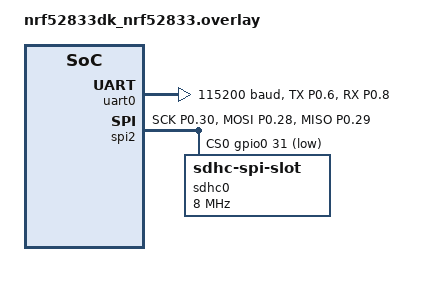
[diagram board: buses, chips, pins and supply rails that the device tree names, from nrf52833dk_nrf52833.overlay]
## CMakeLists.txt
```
# MDBT53 Camera Controller CMake Configuration
# 
# 이 프로젝트는 nRF Connect SDK를 사용합니다.
# 
# 빌드 방법:
#   1. nRF Connect SDK 설치
#   2. 프로젝트 디렉토리에서:
#      west build -b nrf52833dk_nrf52833
#   3. 플래시:
#      west flash
#
# 커스텀 보드 사용 시:
#   boards/ 디렉토리에 보드 정의 파일 추가 후
#   west build -b your_custom_board

cmake_minimum_required(VERSION 3.20.0)

find_package(Zephyr REQUIRED HINTS $ENV{ZEPHYR_BASE})

project(mdbt53_camera_controller)

target_sources(app PRIVATE
    src/main.c
)
```

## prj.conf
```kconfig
# MDBT53 Camera Controller - nRF Connect SDK Configuration
# 
# 빌드 명령: west build -b nrf52833dk_nrf52833
# (또는 커스텀 보드 사용 시: west build -b your_board_name)

# 기본 설정
CONFIG_MAIN_STACK_SIZE=4096
CONFIG_SYSTEM_WORKQUEUE_STACK_SIZE=2048
CONFIG_HEAP_MEM_POOL_SIZE=16384

# 로깅
CONFIG_LOG=y
CONFIG_LOG_DEFAULT_LEVEL=3
CONFIG_LOG_BUFFER_SIZE=4096

# UART
CONFIG_SERIAL=y
CONFIG_UART_INTERRUPT_DRIVEN=y
CONFIG_UART_LINE_CTRL=y

# GPIO (버튼용)
CONFIG_GPIO=y

# SPI (SD 카드용)
CONFIG_SPI=y

# 디스크 및 파일시스템
CONFIG_DISK_ACCESS=y
CONFIG_DISK_DRIVER_SDMMC=y

CONFIG_FILE_SYSTEM=y
CONFIG_FAT_FILESYSTEM_ELM=y
CONFIG_FS_FATFS_LFN=y
CONFIG_FS_FATFS_LFN_MODE_HEAP=y

# SD/MMC 드라이버
CONFIG_SDMMC_STACK=y

# 메모리 풀 (대용량 버퍼용)
CONFIG_COMMON_LIBC_MALLOC_ARENA_SIZE=65536

# 스레드 최적화
CONFIG_TIMESLICING=n
CONFIG_NUM_PREEMPT_PRIORITIES=16

# 디버그 (개발 중에만)
CONFIG_DEBUG=y
CONFIG_ASSERT=y

# 전력 관리 비활성화 (개발 단순화)
CONFIG_PM=n
```

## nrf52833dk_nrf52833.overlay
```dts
/*
 * MDBT53 Camera Controller - Device Tree Overlay
 * 
 * 하드웨어 핀 배치:
 *   UART0 (ESP32-CAM 연결):
 *     TX: P0.06
 *     RX: P0.08
 *   
 *   SPI2 (SD 카드):
 *     MOSI: P0.28
 *     MISO: P0.29
 *     SCK:  P0.30
 *     CS:   P0.31
 *   
 *   버튼 (수동 촬영):
 *     SW0: P0.11 (기본 DK 버튼)
 */

/ {
    aliases {
        sdhc0 = &sdhc0;
    };
};

/* UART0 설정 - ESP32-CAM 통신용 */
&uart0 {
    status = "okay";
    current-speed = <115200>;
    pinctrl-0 = <&uart0_default>;
    pinctrl-1 = <&uart0_sleep>;
    pinctrl-names = "default", "sleep";
};

&pinctrl {
    uart0_default: uart0_default {
        group1 {
            psels = <NRF_PSEL(UART_TX, 0, 6)>,
                    <NRF_PSEL(UART_RX, 0, 8)>;
        };
    };

    uart0_sleep: uart0_sleep {
        group1 {
            psels = <NRF_PSEL(UART_TX, 0, 6)>,
                    <NRF_PSEL(UART_RX, 0, 8)>;
            low-power-enable;
        };
    };

    spi2_default: spi2_default {
        group1 {
            psels = <NRF_PSEL(SPIM_SCK, 0, 30)>,
                    <NRF_PSEL(SPIM_MOSI, 0, 28)>,
                    <NRF_PSEL(SPIM_MISO, 0, 29)>;
        };
    };

    spi2_sleep: spi2_sleep {
        group1 {
            psels = <NRF_PSEL(SPIM_SCK, 0, 30)>,
                    <NRF_PSEL(SPIM_MOSI, 0, 28)>,
                    <NRF_PSEL(SPIM_MISO, 0, 29)>;
            low-power-enable;
        };
    };
};

/* SPI2 - SD 카드용 */
&spi2 {
    status = "okay";
    pinctrl-0 = <&spi2_default>;
    pinctrl-1 = <&spi2_sleep>;
    pinctrl-names = "default", "sleep";
    cs-gpios = <&gpio0 31 GPIO_ACTIVE_LOW>;

    sdhc0: sdhc@0 {
        compatible = "zephyr,sdhc-spi-slot";
        reg = <0>;
        status = "okay";
        spi-max-frequency = <8000000>;
        mmc {
            compatible = "zephyr,sdmmc-disk";
            status = "okay";
        };
    };
};
```

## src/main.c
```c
/**
 * MDBT53 (nRF52833) Camera Controller
 * 
 * ESP32-CAM과 시리얼 통신하여 사진을 촬영하고 SD 카드에 저장
 * 
 * 개발 환경: nRF Connect SDK (Zephyr RTOS)
 * 
 * 하드웨어 연결:
 *   MDBT53 TX (P0.06) → ESP32-CAM RX (GPIO3)
 *   MDBT53 RX (P0.08) → ESP32-CAM TX (GPIO1)
 *   GND ↔ GND
 *   
 *   SD 카드 (SPI):
 *   MDBT53 P0.28 → SD_MOSI
 *   MDBT53 P0.29 → SD_MISO
 *   MDBT53 P0.30 → SD_SCK
 *   MDBT53 P0.31 → SD_CS
 */

#include <zephyr/kernel.h>
#include <zephyr/device.h>
#include <zephyr/drivers/uart.h>
#include <zephyr/drivers/gpio.h>
#include <zephyr/fs/fs.h>
#include <zephyr/storage/disk_access.h>
#include <ff.h>
#include <zephyr/logging/log.h>

#include <string.h>
#include <stdlib.h>
#include <stdio.h>

LOG_MODULE_REGISTER(camera_ctrl, LOG_LEVEL_INF);

/* ===========================
 * 설정값
 * =========================== */
#define UART_DEVICE_NODE DT_NODELABEL(uart0)
#define UART_BUF_SIZE 2048
#define JPEG_MAX_SIZE (512 * 1024)  // 최대 512KB
#define CAPTURE_INTERVAL_SEC 60     // 60초마다 자동 촬영

/* 명령 및 응답 문자열 */
#define CMD_CAPTURE    "CAP\n"
#define CMD_STATUS     "STATUS\n"
#define RESP_IMG       "IMG:"
#define RESP_END       "END:"
#define RESP_OK        "OK:"
#define RESP_ERR       "ERR:"

/* ===========================
 * 전역 변수
 * =========================== */
static const struct device *uart_dev;
static uint8_t uart_rx_buf[UART_BUF_SIZE];
static volatile size_t uart_rx_len = 0;

/* JPEG 수신 버퍼 (PSRAM이 없으므로 정적 할당) */
static uint8_t jpeg_buffer[JPEG_MAX_SIZE] __attribute__((aligned(4)));
static volatile size_t jpeg_len = 0;

/* 파일 시스템 */
static FATFS fat_fs;
static struct fs_mount_t mp = {
    .type = FS_FATFS,
    .fs_data = &fat_fs,
};

/* 파일 카운터 */
static uint32_t file_counter = 0;

/* 상태 플래그 */
static volatile bool receiving_jpeg = false;
static volatile bool jpeg_complete = false;
static volatile size_t expected_jpeg_len = 0;

/* ===========================
 * 함수 프로토타입
 * =========================== */
static int init_uart(void);
static int init_sd_card(void);
static void uart_send(const char *data);
static int request_capture(void);
static int receive_jpeg(void);
static int save_jpeg_to_sd(void);
static uint8_t calculate_checksum(uint8_t *data, size_t len);
static void uart_isr(const struct device *dev, void *user_data);

/* ===========================
 * UART 초기화
 * =========================== */
static int init_uart(void)
{
    uart_dev = DEVICE_DT_GET(UART_DEVICE_NODE);
    if (!device_is_ready(uart_dev)) {
        LOG_ERR("UART device not ready");
        return -ENODEV;
    }

    /* UART 인터럽트 설정 */
    uart_irq_callback_user_data_set(uart_dev, uart_isr, NULL);
    uart_irq_rx_enable(uart_dev);

    LOG_INF("UART initialized");
    return 0;
}

/* ===========================
 * UART 인터럽트 핸들러
 * =========================== */
static void uart_isr(const struct device *dev, void *user_data)
{
    ARG_UNUSED(user_data);

    while (uart_irq_update(dev) && uart_irq_is_pending(dev)) {
        if (uart_irq_rx_ready(dev)) {
            uint8_t c;
            while (uart_fifo_read(dev, &c, 1) > 0) {
                if (receiving_jpeg) {
                    /* JPEG 바이너리 데이터 수신 중 */
                    if (jpeg_len < JPEG_MAX_SIZE) {
                        jpeg_buffer[jpeg_len++] = c;
                    }
                } else {
                    /* 명령/응답 텍스트 수신 */
                    if (uart_rx_len < UART_BUF_SIZE - 1) {
                        uart_rx_buf[uart_rx_len++] = c;
                        uart_rx_buf[uart_rx_len] = '\0';
                    }
                }
            }
        }
    }
}

/* ===========================
 * UART 데이터 전송
 * =========================== */
static void uart_send(const char *data)
{
    while (*data) {
        uart_poll_out(uart_dev, *data++);
    }
}

/* ===========================
 * SD 카드 초기화
 * =========================== */
static int init_sd_card(void)
{
    static const char *disk_mount_pt = "/SD:";
    static const char *disk_pdrv = "SD";
    int ret;

    /* 디스크 접근 초기화 */
    ret = disk_access_init(disk_pdrv);
    if (ret) {
        LOG_ERR("SD card init failed: %d", ret);
        return ret;
    }

    /* 마운트 포인트 설정 */
    mp.mnt_point = disk_mount_pt;

    /* 파일시스템 마운트 */
    ret = fs_mount(&mp);
    if (ret) {
        LOG_ERR("SD mount failed: %d", ret);
        return ret;
    }

    LOG_INF("SD card mounted at %s", disk_mount_pt);
    
    /* 기존 파일 개수 확인하여 카운터 설정 */
    struct fs_dir_t dir;
    struct fs_dirent entry;
    
    fs_dir_t_init(&dir);
    ret = fs_opendir(&dir, disk_mount_pt);
    if (ret == 0) {
        while (fs_readdir(&dir, &entry) == 0 && entry.name[0] != 0) {
            if (strstr(entry.name, "photo_") != NULL) {
                int num;
                if (sscanf(entry.name, "photo_%d.jpg", &num) == 1) {
                    if (num >= file_counter) {
                        file_counter = num + 1;
                    }
                }
            }
        }
        fs_closedir(&dir);
    }
    
    LOG_INF("File counter starts at %d", file_counter);
    return 0;
}

/* ===========================
 * 사진 촬영 요청
 * =========================== */
static int request_capture(void)
{
    LOG_INF("Requesting capture from ESP32-CAM...");
    
    /* 버퍼 초기화 */
    uart_rx_len = 0;
    memset(uart_rx_buf, 0, sizeof(uart_rx_buf));
    jpeg_len = 0;
    receiving_jpeg = false;
    jpeg_complete = false;
    expected_jpeg_len = 0;
    
    /* CAP 명령 전송 */
    uart_send(CMD_CAPTURE);
    
    return 0;
}

/* ===========================
 * JPEG 데이터 수신
 * =========================== */
static int receive_jpeg(void)
{
    int timeout_ms = 30000;  /* 30초 타임아웃 */
    int elapsed = 0;
    
    LOG_INF("Waiting for JPEG data...");
    
    /* Step 1: "IMG:<size>\n" 헤더 대기 */
    while (elapsed < timeout_ms) {
        k_msleep(10);
        elapsed += 10;
        
        /* "IMG:" 헤더 확인 */
        char *img_ptr = strstr((char *)uart_rx_buf, RESP_IMG);
        if (img_ptr) {
            char *newline = strchr(img_ptr, '\n');
            if (newline) {
                /* 크기 파싱 */
                expected_jpeg_len = atoi(img_ptr + 4);
                LOG_INF("Expected JPEG size: %d bytes", expected_jpeg_len);
                
                if (expected_jpeg_len == 0 || expected_jpeg_len > JPEG_MAX_SIZE) {
                    LOG_ERR("Invalid JPEG size: %d", expected_jpeg_len);
                    return -EINVAL;
                }
                
                /* JPEG 수신 모드로 전환 */
                receiving_jpeg = true;
                jpeg_len = 0;
                uart_rx_len = 0;
                break;
            }
        }
        
        /* 에러 응답 확인 */
        if (strstr((char *)uart_rx_buf, RESP_ERR)) {
            LOG_ERR("ESP32-CAM error: %s", uart_rx_buf);
            return -EIO;
        }
    }
    
    if (!receiving_jpeg) {
        LOG_ERR("Timeout waiting for IMG header");
        return -ETIMEDOUT;
    }
    
    /* Step 2: JPEG 바이너리 데이터 수신 */
    elapsed = 0;
    while (elapsed < timeout_ms) {
        k_msleep(10);
        elapsed += 10;
        
        /* 예상 크기만큼 수신했는지 확인 */
        if (jpeg_len >= expected_jpeg_len) {
            /* 추가로 "END:" 마커 대기 */
            k_msleep(100);
            
            /* END 마커와 체크섬 확인 (마지막 몇 바이트에 있음) */
            receiving_jpeg = false;
            
            /* JPEG 끝 부분에서 "END:" 찾기 */
            /* 실제 JPEG 데이터 뒤에 "\nEND:XX\n" 형태로 옴 */
            if (jpeg_len > 10) {
                /* 마지막 10바이트에서 END 마커 검색 */
                char *end_marker = NULL;
                for (int i = jpeg_len - 10; i < jpeg_len - 4; i++) {
                    if (i >= 0 && memcmp(&jpeg_buffer[i], "\nEND:", 5) == 0) {
                        end_marker = (char *)&jpeg_buffer[i];
                        /* 실제 JPEG 데이터 길이 조정 */
                        jpeg_len = i;
                        break;
                    }
                }
                
                if (end_marker) {
                    /* 체크섬 확인 */
                    uint8_t received_checksum;
                    if (sscanf(end_marker + 5, "%02hhX", &received_checksum) == 1) {
                        uint8_t calc_checksum = calculate_checksum(jpeg_buffer, jpeg_len);
                        if (calc_checksum == received_checksum) {
                            LOG_INF("Checksum OK! JPEG received: %d bytes", jpeg_len);
                            jpeg_complete = true;
                            return 0;
                        } else {
                            LOG_WRN("Checksum mismatch: expected %02X, got %02X", 
                                    received_checksum, calc_checksum);
                            /* 체크섬이 틀려도 저장 시도 */
                            jpeg_complete = true;
                            return 0;
                        }
                    }
                }
            }
            
            /* END 마커 없어도 데이터 완료로 처리 */
            LOG_WRN("END marker not found, using received data");
            jpeg_complete = true;
            return 0;
        }
        
        /* 진행 상황 로그 (10% 단위) */
        static int last_percent = 0;
        int percent = (jpeg_len * 100) / expected_jpeg_len;
        if (percent / 10 > last_percent / 10) {
            LOG_INF("Receiving: %d%%", percent);
            last_percent = percent;
        }
    }
    
    LOG_ERR("Timeout receiving JPEG data");
    receiving_jpeg = false;
    return -ETIMEDOUT;
}

/* ===========================
 * JPEG를 SD 카드에 저장
 * =========================== */
static int save_jpeg_to_sd(void)
{
    if (!jpeg_complete || jpeg_len == 0) {
        LOG_ERR("No JPEG data to save");
        return -ENODATA;
    }
    
    char filename[64];
    snprintf(filename, sizeof(filename), "/SD:/photo_%04d.jpg", file_counter);
    
    struct fs_file_t file;
    fs_file_t_init(&file);
    
    int ret = fs_open(&file, filename, FS_O_CREATE | FS_O_WRITE);
    if (ret) {
        LOG_ERR("Failed to create file %s: %d", filename, ret);
        return ret;
    }
    
    /* 데이터 쓰기 (청크 단위) */
    const size_t chunk_size = 4096;
    size_t written = 0;
    
    while (written < jpeg_len) {
        size_t to_write = MIN(chunk_size, jpeg_len - written);
        ssize_t result = fs_write(&file, &jpeg_buffer[written], to_write);
        if (result < 0) {
            LOG_ERR("Write error: %d", result);
            fs_close(&file);
            return result;
        }
        written += result;
    }
    
    fs_close(&file);
    
    LOG_INF("Saved: %s (%d bytes)", filename, jpeg_len);
    file_counter++;
    
    return 0;
}

/* ===========================
 * XOR 체크섬 계산
 * =========================== */
static uint8_t calculate_checksum(uint8_t *data, size_t len)
{
    uint8_t checksum = 0;
    for (size_t i = 0; i < len; i++) {
        checksum ^= data[i];
    }
    return checksum;
}

/* ===========================
 * 캡처 및 저장 워크플로우
 * =========================== */
static int capture_and_save(void)
{
    int ret;
    
    /* 촬영 요청 */
    ret = request_capture();
    if (ret) {
        LOG_ERR("Capture request failed: %d", ret);
        return ret;
    }
    
    /* JPEG 수신 */
    ret = receive_jpeg();
    if (ret) {
        LOG_ERR("JPEG receive failed: %d", ret);
        return ret;
    }
    
    /* SD 카드에 저장 */
    ret = save_jpeg_to_sd();
    if (ret) {
        LOG_ERR("Save to SD failed: %d", ret);
        return ret;
    }
    
    return 0;
}

/* ===========================
 * 버튼 인터럽트 핸들러 (수동 촬영용)
 * =========================== */
#define BUTTON_NODE DT_ALIAS(sw0)
#if DT_NODE_EXISTS(BUTTON_NODE)

static const struct gpio_dt_spec button = GPIO_DT_SPEC_GET(BUTTON_NODE, gpios);
static struct gpio_callback button_cb_data;

static void button_pressed(const struct device *dev, struct gpio_callback *cb, uint32_t pins)
{
    LOG_INF("Button pressed - capturing photo");
    /* 실제 캡처는 메인 루프에서 처리 */
}

static int init_button(void)
{
    if (!gpio_is_ready_dt(&button)) {
        LOG_WRN("Button device not ready");
        return -ENODEV;
    }
    
    gpio_pin_configure_dt(&button, GPIO_INPUT);
    gpio_pin_interrupt_configure_dt(&button, GPIO_INT_EDGE_TO_ACTIVE);
    gpio_init_callback(&button_cb_data, button_pressed, BIT(button.pin));
    gpio_add_callback(button.port, &button_cb_data);
    
    LOG_INF("Button initialized");
    return 0;
}

#endif

/* ===========================
 * 메인 함수
 * =========================== */
int main(void)
{
    int ret;
    
    LOG_INF("=== MDBT53 Camera Controller ===");
    LOG_INF("Initializing...");
    
    /* UART 초기화 */
    ret = init_uart();
    if (ret) {
        LOG_ERR("UART init failed");
        return ret;
    }
    
    /* SD 카드 초기화 */
    ret = init_sd_card();
    if (ret) {
        LOG_ERR("SD card init failed");
        /* SD 없어도 계속 진행 (디버그용) */
    }
    
#if DT_NODE_EXISTS(BUTTON_NODE)
    /* 버튼 초기화 (선택사항) */
    init_button();
#endif
    
    LOG_INF("System ready!");
    
    /* ESP32-CAM 부팅 대기 */
    k_msleep(3000);
    
    /* 상태 확인 */
    uart_send(CMD_STATUS);
    k_msleep(1000);
    if (uart_rx_len > 0) {
        LOG_INF("ESP32-CAM response: %s", uart_rx_buf);
    }
    
    /* 메인 루프: 주기적 촬영 */
    while (1) {
        LOG_INF("--- Starting capture cycle ---");
        
        ret = capture_and_save();
        if (ret) {
            LOG_ERR("Capture cycle failed: %d", ret);
        } else {
            LOG_INF("Capture cycle completed successfully");
        }
        
        /* 다음 촬영까지 대기 */
        LOG_INF("Waiting %d seconds for next capture...", CAPTURE_INTERVAL_SEC);
        k_sleep(K_SECONDS(CAPTURE_INTERVAL_SEC));
    }
    
    return 0;
}
```
